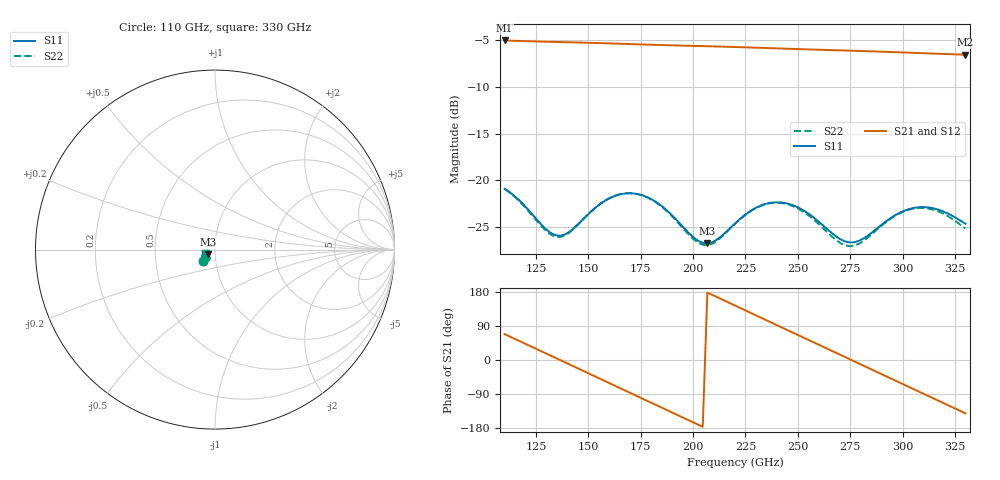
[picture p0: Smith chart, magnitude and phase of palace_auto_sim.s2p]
#  GHZ S DB R 50
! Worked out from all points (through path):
!   101 points, 110 GHz to 330 GHz, reference 50 ohm
!   highest |S21| = -5.04 dB at 110 GHz (marker M1); lowest = -6.6 dB at 330 GHz (marker M2)
!   group delay of S21, straight-line fit = 7.19 ps
!   lowest |S11| = -26.7 dB at 206.8 GHz (marker M3), VSWR 1.10, Z = 46.3 - j2.37 ohm
!   |S11| at or under -10 dB: start of sweep to end of sweep
!   |S22| runs from -27.0 to -20.9 dB; largest |S21 - S12| = 6.2e-14
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110  -20.90 -136.4  -5.04 68.3  -5.04 68.3  -20.94 -136.0
121  -23.07 -146.3  -5.12 39.9  -5.12 39.9  -23.18 -145.8
129.8  -25.24 -142.9  -5.17 17.2  -5.17 17.2  -25.41 -142.0
138.6  -25.81 -128.9  -5.22 -5.5  -5.22 -5.5  -25.92 -127.1
147.4  -24.18 -121.0  -5.27 -28.3  -5.27 -28.3  -24.19 -119.3
158.4  -22.13 -126.8  -5.34 -56.9  -5.34 -56.9  -22.10 -125.5
167.2  -21.42 -137.2  -5.40 -79.7  -5.40 -79.7  -21.40 -136.2
176  -21.62 -148.5  -5.47 -102.4  -5.47 -102.4  -21.63 -147.7
184.8  -22.72 -157.9  -5.53 -125.2  -5.53 -125.2  -22.78 -157.2
195.8  -25.13 -160.8  -5.59 -153.6  -5.59 -153.6  -25.29 -159.8
206.8  -26.75 -146.2  -5.65 177.9  -5.65 177.9  -26.93 -144.2
220  -24.62 -133.1  -5.74 143.7  -5.74 143.7  -24.66 -131.0
231  -22.83 -139.2  -5.82 115.2  -5.82 115.2  -22.85 -137.5
239.8  -22.35 -148.4  -5.88 92.4  -5.88 92.4  -22.40 -147.0
248.6  -22.74 -157.6  -5.95 69.7  -5.95 69.7  -22.85 -156.4
257.4  -23.95 -163.8  -6.01 47.0  -6.01 47.0  -24.17 -162.6
275  -26.65 -152.4  -6.13 1.5  -6.13 1.5  -27.04 -149.0
283.8  -25.85 -141.6  -6.19 -21.3  -6.19 -21.3  -26.05 -137.3
294.8  -23.97 -140.6  -6.27 -49.8  -6.27 -49.8  -24.02 -136.8
303.6  -23.05 -146.5  -6.35 -72.5  -6.35 -72.5  -23.10 -143.3
312.4  -22.90 -154.3  -6.42 -95.3  -6.42 -95.3  -23.02 -151.5
330  -24.65 -162.9  -6.56 -140.6  -6.56 -140.6  -25.16 -159.6
